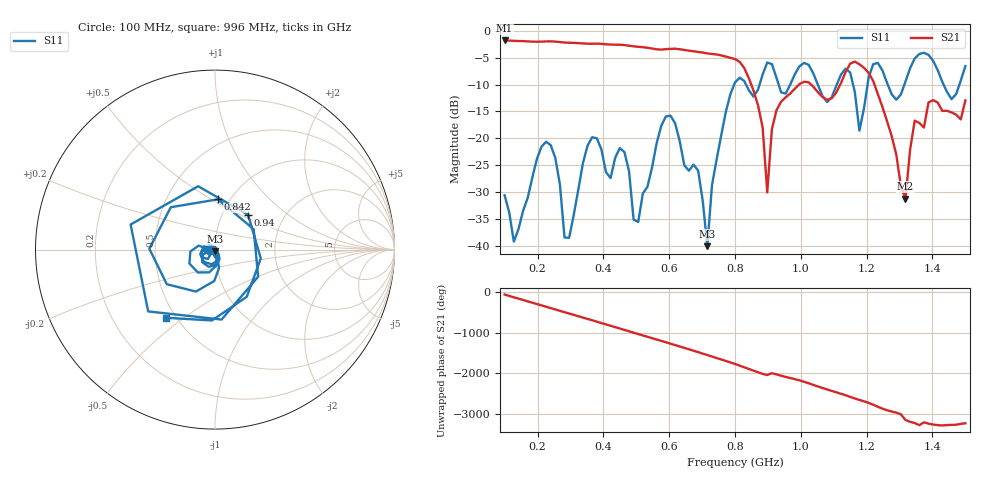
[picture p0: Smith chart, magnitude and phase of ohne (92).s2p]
! NanoVNA-App
! Date: 2025-09-26 09:56:06
! Start: 100MHz Stop: 1,5GHz Points: 101
! S-Parameter data: F S11 S21 S12 S22
# Hz S RI R 50
!  Frequency  S11_Real  S11_Imag  S21_Real  S21_Imag  S12_Real  S12_Imag  S22_Real  S22_Imag
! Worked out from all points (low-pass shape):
!   101 points, 100 MHz to 1.5 GHz, reference 50 ohm
!   highest |S21| = -1.79 dB at 100 MHz (marker M1); lowest = -31.2 dB at 1.318 GHz (marker M2)
!   |S21| within 3 dB of the highest: start of sweep to 771.4 MHz
!   lowest |S11| = -40.1 dB at 716 MHz (marker M3), VSWR 1.02, Z = 49.9 - j0.976 ohm
!   |S11| at or under -10 dB: start of sweep to 797.6 MHz; 833.4 MHz to 874.7 MHz (41.29 MHz wide, 4.84 % of centre); 1.051 GHz to 1.109 GHz (57.89 MHz wide, 5.36 % of centre) (the widest 3 of 7)
!   S12 and S22 are empty: the file has one direction only
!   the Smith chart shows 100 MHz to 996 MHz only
!   S11 on the Smith chart (normalised r, x): 100 MHz: 0.94, -0.01; 842 MHz: 0.88, +0.53; 940 MHz: 1.32, +0.55; 996 MHz: 0.44, -0.43
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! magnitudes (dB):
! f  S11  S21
! 100 MHz  -30.6  -1.8
! 128 MHz  -39.3  -1.9
! 226 MHz  -20.7  -2.0
! 296 MHz  -38.6  -2.2
! 338 MHz  -24.7  -2.3
! 464 MHz  -22.6  -2.6
! 506 MHz  -35.6  -3.0
! 576 MHz  -17.7  -3.5
! 688 MHz  -26.0  -3.9
! 716 MHz  -40.1  -4.2
! 800 MHz  -9.6  -5.3
! 842 MHz  -11.0  -8.8
! 898 MHz  -5.9  -30.1
! 940 MHz  -11.4  -13.2
! 996 MHz  -6.6  -9.9
! 1.038 GHz  -7.9  -10.4
! 1.178 GHz  -18.6  -6.2
! 1.22 GHz  -6.2  -9.4
! 1.276 GHz  -11.8  -19.6
! 1.318 GHz  -9.4  -31.2
! 1.346 GHz  -5.1  -16.7
! 1.5 GHz  -6.6  -12.9
